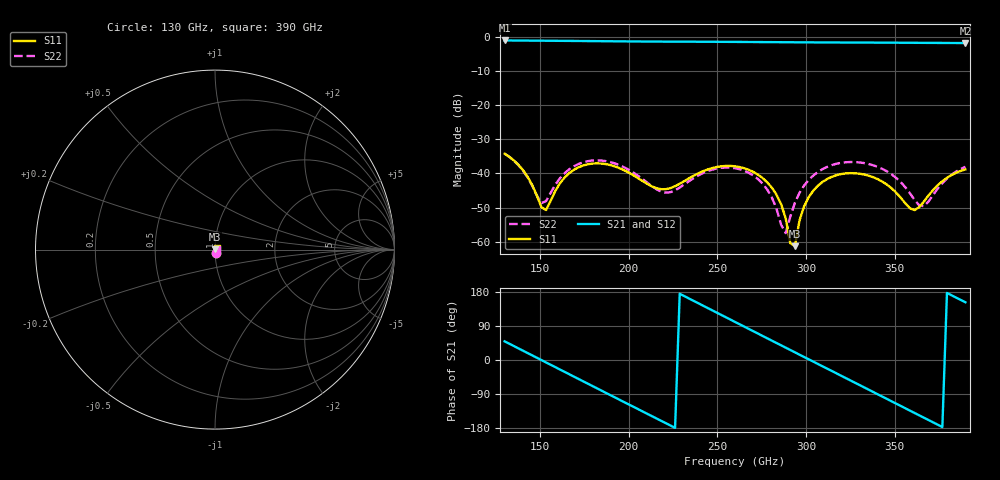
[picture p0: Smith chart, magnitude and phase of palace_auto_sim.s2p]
#  GHZ S DB R 50
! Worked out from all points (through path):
!   101 points, 130 GHz to 390 GHz, reference 50 ohm
!   highest |S21| = -1.15 dB at 130 GHz (marker M1); lowest = -1.9 dB at 390 GHz (marker M2)
!   group delay of S21, straight-line fit = 6.59 ps
!   lowest |S11| = -61.3 dB at 293.8 GHz (marker M3), VSWR 1.00, Z = 50 + j0.0851 ohm
!   |S11| at or under -10 dB: start of sweep to end of sweep
!   |S22| runs from -57.5 to -34.2 dB; largest |S21 - S12| = 1.4e-13
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130  -34.25 -80.2  -1.15 49.2  -1.15 49.2  -34.24 -80.0
140.4  -39.08 -97.5  -1.19 24.5  -1.19 24.5  -39.24 -95.0
150.8  -49.89 -73.8  -1.22 -0.3  -1.22 -0.3  -48.69 -59.0
153.4  -50.71 -37.8  -1.23 -6.4  -1.23 -6.4  -48.10 -30.2
163.8  -41.24 -3.6  -1.28 -31.2  -1.28 -31.2  -39.98 -8.0
174.2  -37.72 -18.9  -1.32 -55.9  -1.32 -55.9  -36.79 -23.3
195  -38.51 -52.0  -1.41 -105.3  -1.41 -105.3  -37.64 -58.5
218.4  -44.63 -36.4  -1.49 -160.6  -1.49 -160.6  -45.34 -48.0
236.6  -40.71 -12.5  -1.52 156.2  -1.52 156.2  -41.41 -12.3
260  -37.93 -47.9  -1.58 100.5  -1.58 100.5  -38.49 -45.3
275.6  -41.38 -84.3  -1.63 63.4  -1.63 63.4  -43.01 -75.0
283.4  -46.22 -105.8  -1.65 44.9  -1.65 44.9  -50.31 -78.6
288.6  -53.11 -127.0  -1.67 32.6  -1.67 32.6  -57.46 -11.1
291.2  -60.40 -156.4  -1.68 26.4  -1.68 26.4  -52.68 23.9
293.8  -61.28 99.7  -1.69 20.3  -1.69 20.3  -48.56 31.2
299  -49.64 53.5  -1.71 8.0  -1.71 8.0  -43.55 27.7
304.2  -45.04 36.3  -1.72 -4.3  -1.72 -4.3  -40.62 18.4
327.6  -39.96 -24.0  -1.77 -59.7  -1.77 -59.7  -36.70 -34.6
348.4  -44.39 -84.1  -1.81 -109.1  -1.81 -109.1  -40.30 -89.3
358.8  -50.24 -150.5  -1.83 -133.8  -1.83 -133.8  -45.89 -134.2
366.6  -48.23 129.7  -1.85 -152.3  -1.85 -152.3  -49.58 146.9
390  -38.85 37.7  -1.92 152.3  -1.92 152.3  -38.08 23.4
